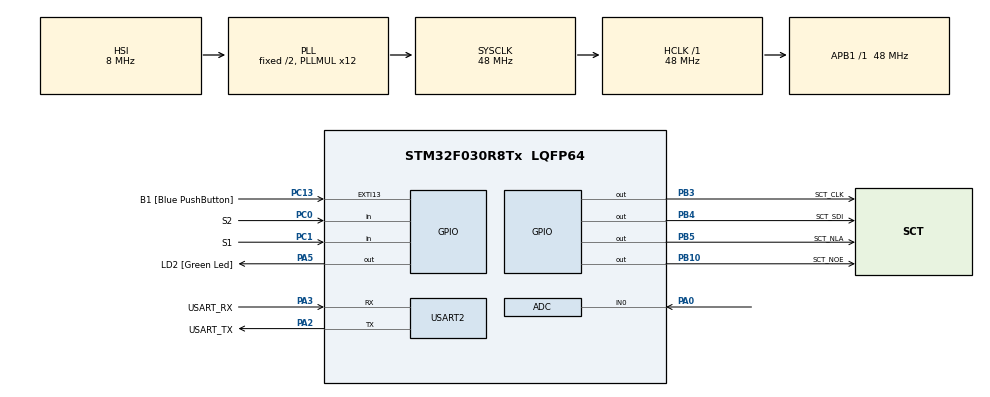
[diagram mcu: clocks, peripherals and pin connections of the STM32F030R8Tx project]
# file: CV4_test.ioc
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ADC.ContinuousConvMode=ENABLE
ADC.Overrun=ADC_OVR_DATA_OVERWRITTEN
ADC.SamplingTime=ADC_SAMPLETIME_239CYCLES_5
Mcu.Family=STM32F0
Mcu.Name=STM32F030R8Tx
Mcu.Package=LQFP64
NVIC.ADC1_IRQn=true\:0\:0\:false\:false\:true\:true\:true\:true
PA0.Mode=IN0
PA0.Signal=ADC_IN0
PA13.GPIO_Label=TMS
PA13.Mode=Serial_Wire
PA13.Signal=SYS_SWDIO
PA14.GPIO_Label=TCK
PA14.Mode=Serial_Wire
PA14.Signal=SYS_SWCLK
PA2.GPIO_Label=USART_TX
PA2.GPIO_Mode=GPIO_MODE_AF_PP
PA2.GPIO_PuPd=GPIO_NOPULL
PA2.GPIO_Speed=GPIO_SPEED_FREQ_LOW
PA2.Mode=Asynchronous
PA2.Signal=USART2_TX
PA3.GPIO_Label=USART_RX
PA3.GPIO_Mode=GPIO_MODE_AF_PP
PA3.GPIO_PuPd=GPIO_NOPULL
PA3.GPIO_Speed=GPIO_SPEED_FREQ_LOW
PA3.Mode=Asynchronous
PA3.Signal=USART2_RX
PA5.GPIO_Label=LD2 [Green Led]
PA5.GPIO_Mode=GPIO_MODE_OUTPUT_PP
PA5.GPIO_PuPd=GPIO_NOPULL
PA5.GPIO_Speed=GPIO_SPEED_FREQ_LOW
PA5.Signal=GPIO_Output
PB10.GPIO_Label=SCT_NOE
PB10.Signal=GPIO_Output
PB3.GPIO_Label=SCT_CLK
PB3.Signal=GPIO_Output
PB4.GPIO_Label=SCT_SDI
PB4.Signal=GPIO_Output
PB5.GPIO_Label=SCT_NLA
PB5.Signal=GPIO_Output
PC0.GPIO_Label=S2
PC0.GPIO_PuPd=GPIO_PULLUP
PC0.Signal=GPIO_Input
PC1.GPIO_Label=S1
PC1.GPIO_PuPd=GPIO_PULLUP
PC1.Signal=GPIO_Input
PC13.GPIO_Label=B1 [Blue PushButton]
PC13.GPIO_ModeDefaultEXTI=GPIO_MODE_IT_FALLING
PC13.Signal=GPXTI13
PC14-OSC32_IN.Mode=LSE-External-Oscillator
PC14-OSC32_IN.Signal=RCC_OSC32_IN
PC15-OSC32_OUT.Mode=LSE-External-Oscillator
PC15-OSC32_OUT.Signal=RCC_OSC32_OUT
PF0-OSC_IN.Mode=HSE-External-Clock-Source
PF0-OSC_IN.Signal=RCC_OSC_IN
PF1-OSC_OUT.Signal=RCC_OSC_OUT
ProjectManager.HeapSize=0x200
ProjectManager.StackSize=0x400
ProjectManager.TargetToolchain=STM32CubeIDE
RCC.AHBFreq_Value=48000000
RCC.APB1Freq_Value=48000000
RCC.APB1TimFreq_Value=48000000
RCC.HCLKFreq_Value=48000000
RCC.PLLMUL=RCC_PLL_MUL12
RCC.SYSCLKFreq_VALUE=48000000
RCC.SYSCLKSource=RCC_SYSCLKSOURCE_PLLCLK
USART2.VirtualMode-Asynchronous=VM_ASYNC
board=NUCLEO-F030R8

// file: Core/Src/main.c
/* USER CODE BEGIN Header */
/**
 ******************************************************************************
 * @file           : main.c
 * @brief          : Main program body
 ******************************************************************************
 * @attention
 *
 * Copyright (c) 2025 STMicroelectronics.
 * All rights reserved.
 *
 * This software is licensed under terms that can be found in the LICENSE file
 * in the root directory of this software component.
 * If no LICENSE file comes with this software, it is provided AS-IS.
 *
 ******************************************************************************
 */
/* USER CODE END Header */
#include "main.h"

/* USER CODE BEGIN Includes */
#include "sct.h"
/* USER CODE END Includes */

/* USER CODE BEGIN PD */
#define ADC_Q 12

/* USER CODE END PD */

ADC_HandleTypeDef hadc;

UART_HandleTypeDef huart2;

void SystemClock_Config(void);
static void MX_GPIO_Init(void);
static void MX_USART2_UART_Init(void);
static void MX_ADC_Init(void);

/* USER CODE BEGIN 0 */

static volatile uint32_t raw_pot=0;

/* USER CODE END 0 */

int main(void)
{

  /* MCU Configuration--------------------------------------------------------*/

  /* Reset of all peripherals, Initializes the Flash interface and the Systick. */
  HAL_Init();

  /* Configure the system clock */
  SystemClock_Config();

  /* Initialize all configured peripherals */
  MX_GPIO_Init();
  MX_USART2_UART_Init();
  MX_ADC_Init();
  /* USER CODE BEGIN 2 */
	sct_init();
	sct_runner_reset();
	HAL_ADCEx_Calibration_Start(&hadc);
	HAL_ADC_Start_IT(&hadc);

  /* USER CODE END 2 */

  /* Infinite loop */
  /* USER CODE BEGIN WHILE */
	while (1)
	{
		uint32_t step_ms = 20u + (raw_pot * (300u - 20u)) / 4095u;

		int dir = 0;
		if (HAL_GPIO_ReadPin(S1_GPIO_Port, S1_Pin) == GPIO_PIN_RESET) dir = +1;
		if (HAL_GPIO_ReadPin(S2_GPIO_Port, S2_Pin) == GPIO_PIN_RESET) dir = -1;

		sct_runner_update(step_ms, dir);

		HAL_Delay(1);

    /* USER CODE END WHILE */

	}
}

void SystemClock_Config(void)
{
  RCC_OscInitTypeDef RCC_OscInitStruct = {0};
  RCC_ClkInitTypeDef RCC_ClkInitStruct = {0};

  /** Initializes the RCC Oscillators according to the specified parameters
  * in the RCC_OscInitTypeDef structure.
  */
  RCC_OscInitStruct.OscillatorType = RCC_OSCILLATORTYPE_HSI|RCC_OSCILLATORTYPE_HSI14;
  RCC_OscInitStruct.HSIState = RCC_HSI_ON;
  RCC_OscInitStruct.HSI14State = RCC_HSI14_ON;
  RCC_OscInitStruct.HSICalibrationValue = RCC_HSICALIBRATION_DEFAULT;
  RCC_OscInitStruct.HSI14CalibrationValue = 16;
  RCC_OscInitStruct.PLL.PLLState = RCC_PLL_ON;
  RCC_OscInitStruct.PLL.PLLSource = RCC_PLLSOURCE_HSI;
  RCC_OscInitStruct.PLL.PLLMUL = RCC_PLL_MUL12;
  RCC_OscInitStruct.PLL.PREDIV = RCC_PREDIV_DIV1;
  if (HAL_RCC_OscConfig(&RCC_OscInitStruct) != HAL_OK)
  {
    Error_Handler();
  }

  /** Initializes the CPU, AHB and APB buses clocks
  */
  RCC_ClkInitStruct.ClockType = RCC_CLOCKTYPE_HCLK|RCC_CLOCKTYPE_SYSCLK
                              |RCC_CLOCKTYPE_PCLK1;
  RCC_ClkInitStruct.SYSCLKSource = RCC_SYSCLKSOURCE_PLLCLK;
  RCC_ClkInitStruct.AHBCLKDivider = RCC_SYSCLK_DIV1;
  RCC_ClkInitStruct.APB1CLKDivider = RCC_HCLK_DIV1;

  if (HAL_RCC_ClockConfig(&RCC_ClkInitStruct, FLASH_LATENCY_1) != HAL_OK)
  {
    Error_Handler();
  }
}

static void MX_ADC_Init(void)
{

  ADC_ChannelConfTypeDef sConfig = {0};

  /** Configure the global features of the ADC (Clock, Resolution, Data Alignment and number of conversion)
  */
  hadc.Instance = ADC1;
  hadc.Init.ClockPrescaler = ADC_CLOCK_ASYNC_DIV1;
  hadc.Init.Resolution = ADC_RESOLUTION_12B;
  hadc.Init.DataAlign = ADC_DATAALIGN_RIGHT;
  hadc.Init.ScanConvMode = ADC_SCAN_DIRECTION_FORWARD;
  hadc.Init.EOCSelection = ADC_EOC_SINGLE_CONV;
  hadc.Init.LowPowerAutoWait = DISABLE;
  hadc.Init.LowPowerAutoPowerOff = DISABLE;
  hadc.Init.ContinuousConvMode = ENABLE;
  hadc.Init.DiscontinuousConvMode = DISABLE;
  hadc.Init.ExternalTrigConv = ADC_SOFTWARE_START;
  hadc.Init.ExternalTrigConvEdge = ADC_EXTERNALTRIGCONVEDGE_NONE;
  hadc.Init.DMAContinuousRequests = DISABLE;
  hadc.Init.Overrun = ADC_OVR_DATA_OVERWRITTEN;
  if (HAL_ADC_Init(&hadc) != HAL_OK)
  {
    Error_Handler();
  }

  /** Configure for the selected ADC regular channel to be converted.
  */
  sConfig.Channel = ADC_CHANNEL_0;
  sConfig.Rank = ADC_RANK_CHANNEL_NUMBER;
  sConfig.SamplingTime = ADC_SAMPLETIME_239CYCLES_5;
  if (HAL_ADC_ConfigChannel(&hadc, &sConfig) != HAL_OK)
  {
    Error_Handler();
  }

}

static void MX_USART2_UART_Init(void)
{

  huart2.Instance = USART2;
  huart2.Init.BaudRate = 38400;
  huart2.Init.WordLength = UART_WORDLENGTH_8B;
  huart2.Init.StopBits = UART_STOPBITS_1;
  huart2.Init.Parity = UART_PARITY_NONE;
  huart2.Init.Mode = UART_MODE_TX_RX;
  huart2.Init.HwFlowCtl = UART_HWCONTROL_NONE;
  huart2.Init.OverSampling = UART_OVERSAMPLING_16;
  huart2.Init.OneBitSampling = UART_ONE_BIT_SAMPLE_DISABLE;
  huart2.AdvancedInit.AdvFeatureInit = UART_ADVFEATURE_NO_INIT;
  if (HAL_UART_Init(&huart2) != HAL_OK)
  {
    Error_Handler();
  }

}

static void MX_GPIO_Init(void)
{
  GPIO_InitTypeDef GPIO_InitStruct = {0};

  /* GPIO Ports Clock Enable */
  __HAL_RCC_GPIOC_CLK_ENABLE();
  __HAL_RCC_GPIOF_CLK_ENABLE();
  __HAL_RCC_GPIOA_CLK_ENABLE();
  __HAL_RCC_GPIOB_CLK_ENABLE();

  /*Configure GPIO pin Output Level */
  HAL_GPIO_WritePin(LD2_GPIO_Port, LD2_Pin, GPIO_PIN_RESET);

  /*Configure GPIO pin Output Level */
  HAL_GPIO_WritePin(GPIOB, SCT_NOE_Pin|SCT_CLK_Pin|SCT_SDI_Pin|SCT_NLA_Pin, GPIO_PIN_RESET);

  /*Configure GPIO pin : B1_Pin */
  GPIO_InitStruct.Pin = B1_Pin;
  GPIO_InitStruct.Mode = GPIO_MODE_IT_FALLING;
  GPIO_InitStruct.Pull = GPIO_NOPULL;
  HAL_GPIO_Init(B1_GPIO_Port, &GPIO_InitStruct);

  /*Configure GPIO pins : S2_Pin S1_Pin */
  GPIO_InitStruct.Pin = S2_Pin|S1_Pin;
  GPIO_InitStruct.Mode = GPIO_MODE_INPUT;
  GPIO_InitStruct.Pull = GPIO_PULLUP;
  HAL_GPIO_Init(GPIOC, &GPIO_InitStruct);

  /*Configure GPIO pin : LD2_Pin */
  GPIO_InitStruct.Pin = LD2_Pin;
  GPIO_InitStruct.Mode = GPIO_MODE_OUTPUT_PP;
  GPIO_InitStruct.Pull = GPIO_NOPULL;
  GPIO_InitStruct.Speed = GPIO_SPEED_FREQ_LOW;
  HAL_GPIO_Init(LD2_GPIO_Port, &GPIO_InitStruct);

  /*Configure GPIO pins : SCT_NOE_Pin SCT_CLK_Pin SCT_SDI_Pin SCT_NLA_Pin */
  GPIO_InitStruct.Pin = SCT_NOE_Pin|SCT_CLK_Pin|SCT_SDI_Pin|SCT_NLA_Pin;
  GPIO_InitStruct.Mode = GPIO_MODE_OUTPUT_PP;
  GPIO_InitStruct.Pull = GPIO_NOPULL;
  GPIO_InitStruct.Speed = GPIO_SPEED_FREQ_LOW;
  HAL_GPIO_Init(GPIOB, &GPIO_InitStruct);

}

/* USER CODE BEGIN 4 */

void HAL_ADC_ConvCpltCallback(ADC_HandleTypeDef* hadc)
{
	uint32_t s = HAL_ADC_GetValue(hadc);
	static  uint32_t avg_pot = 0;

	if (avg_pot == 0) avg_pot = s << ADC_Q;  // быстрая инициализация
	avg_pot -= (avg_pot >> ADC_Q);
	avg_pot += s;
	raw_pot = (avg_pot >> ADC_Q);
}

/* USER CODE END 4 */

void Error_Handler(void)
{
	__disable_irq();
	while (1)
	{
	}
}
